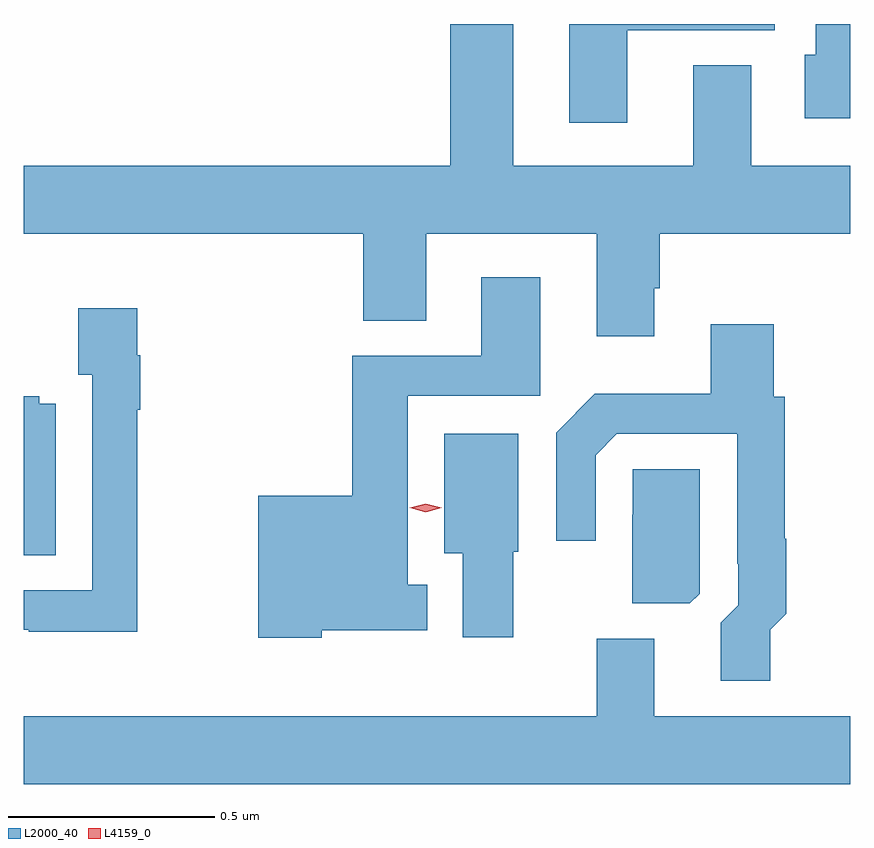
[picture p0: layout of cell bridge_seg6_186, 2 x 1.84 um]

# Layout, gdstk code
import gdstk
lib = gdstk.Library(unit=1e-6, precision=1e-09)
def P(c, l, *ps):  # polygons
    for p in ps: c.add(gdstk.Polygon(p, *l))
L2000_40 = (2000, 40)
L4159_0 = (4159, 0)

bridge_seg6_186 = lib.new_cell('bridge_seg6_186')
P(bridge_seg6_186, L2000_40, [(364.771,921.895),(364.784,921.895),(364.784,922.028),(365.245,922.028),(365.245,922.192),(365.005,922.192),(365.005,922.435),(364.865,922.435),(364.865,922.192),(364.429,922.192),(364.429,922.535),(364.277,922.535),(364.277,922.192),(363.245,922.192),(363.245,922.028),(364.067,922.028),(364.067,921.817),(364.219,921.817),(364.219,922.028),(364.631,922.028),(364.631,921.78),(364.771,921.78)],
  [(365.245,922.535),(365.162,922.535),(365.162,922.461),(365.135,922.461),(365.135,922.307),(365.245,922.307)],
  [(364.705,922.52),(365.062,922.52),(365.062,922.535),(364.565,922.535),(364.565,922.296),(364.705,922.296)],
  [(363.966,921.068),(364.222,921.068),(364.222,921.178),(364.174,921.178),(364.174,921.636),(364.495,921.636),(364.495,921.922),(364.352,921.922),(364.352,921.732),(364.04,921.732),(364.04,921.394),(363.812,921.394),(363.812,921.05),(363.966,921.05)],
  [(363.52,921.602),(363.527,921.602),(363.527,921.734),(363.52,921.734),(363.52,921.847),(363.377,921.847),(363.377,921.686),(363.411,921.686),(363.411,921.165),(363.245,921.165),(363.245,921.069),(363.257,921.069),(363.257,921.065),(363.52,921.065)],
  [(365.051,921.069),(365.09,921.108),(365.09,921.29),(365.087,921.29),(365.087,921.633),(365.06,921.633),(365.06,921.808),(364.907,921.808),(364.907,921.64),(364.627,921.64),(364.533,921.546),(364.533,921.285),(364.629,921.285),(364.629,921.492),(364.68,921.543),(364.971,921.543),(364.971,921.229),(364.974,921.229),(364.974,921.129),(364.931,921.086),(364.931,920.946),(365.051,920.946)],
  [(363.322,921.616),(363.282,921.616),(363.282,921.634),(363.245,921.634),(363.245,921.25),(363.322,921.25)],
  [(364.429,921.258),(364.441,921.258),(364.441,921.544),(364.262,921.544),(364.262,921.254),(364.307,921.254),(364.307,921.051),(364.429,921.051)],
  [(364.881,921.156),(364.881,921.458),(364.719,921.458),(364.719,921.347),(364.718,921.347),(364.718,921.133),(364.857,921.133)],
  [(365.245,920.86),(364.771,920.86),(364.771,921.048),(364.631,921.048),(364.631,920.86),(363.245,920.86),(363.245,920.696),(365.245,920.696)])
P(bridge_seg6_186, L4159_0, [(364.218,921.354),(364.179,921.364),(364.179,921.364),(364.179,921.364),(364.218,921.374),(364.257,921.365),(364.257,921.364),(364.257,921.364)])

lib.write_gds('bridge_seg6_186.gds')
